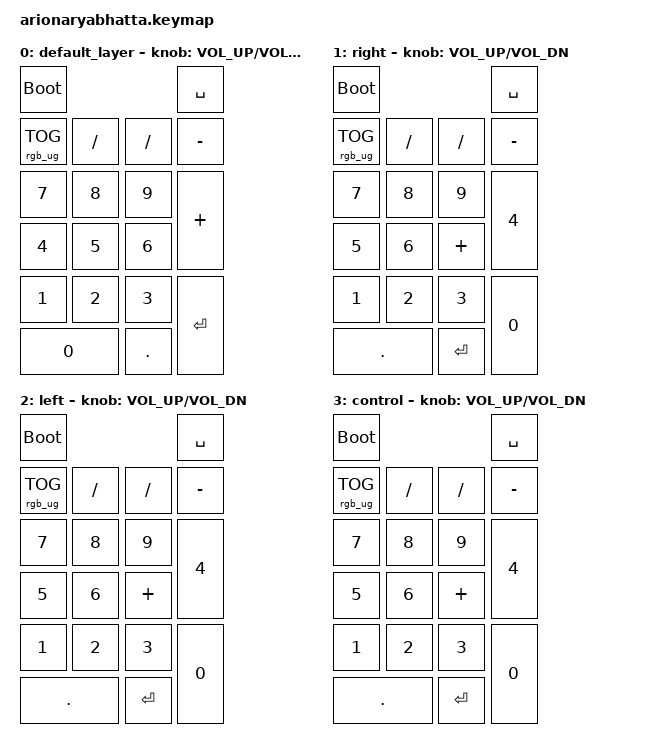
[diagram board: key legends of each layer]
#include <behaviors.dtsi>
#include <dt-bindings/zmk/keys.h>
#include <dt-bindings/zmk/bt.h>
#include <dt-bindings/zmk/rgb.h>
#include <dt-bindings/zmk/ext_power.h>

/ {
    combos {
        compatible = "zmk,combos";
        combo_studio_unlock {
            timeout-ms = <50>;
            key-positions = <0 1>;
            bindings = <&studio_unlock>;
        };
    };
};

/ {
	keymap {
		compatible = "zmk,keymap";

		default_layer {
            sensor-bindings = <&inc_dec_kp C_VOL_UP C_VOL_DN>;
			bindings = <
		        &bootloader                                                &kp SPACE
                &rgb_ug RGB_TOG     &kp SLASH           &kp SLASH           &kp MINUS      
                &kp N7              &kp N8              &kp N9             &kp PLUS
                &kp N4              &kp N5              &kp N6              
                &kp N1              &kp N2              &kp N3             &kp ENTER
                &kp N0              &kp DOT             
			>;			
		};

		right {
			sensor-bindings = <&inc_dec_kp C_VOL_UP C_VOL_DN>;
			bindings = <
		        &bootloader                                                &kp SPACE
                &rgb_ug RGB_TOG     &kp SLASH           &kp SLASH           &kp MINUS      
                &kp N7              &kp N8              &kp N9   
                &kp N4              &kp N5              &kp N6             &kp PLUS 
                &kp N1              &kp N2              &kp N3 
                &kp N0              &kp DOT             &kp ENTER
			>;
		};

		left {
			sensor-bindings = <&inc_dec_kp C_VOL_UP C_VOL_DN>;
			bindings = <
		        &bootloader                                                &kp SPACE
                &rgb_ug RGB_TOG     &kp SLASH           &kp SLASH           &kp MINUS      
                &kp N7              &kp N8              &kp N9   
                &kp N4              &kp N5              &kp N6             &kp PLUS 
                &kp N1              &kp N2              &kp N3 
                &kp N0              &kp DOT             &kp ENTER
			>;
		};

		control {
			sensor-bindings = <&inc_dec_kp C_VOL_UP C_VOL_DN>;
			bindings = <
		        &bootloader                                                &kp SPACE
                &rgb_ug RGB_TOG     &kp SLASH           &kp SLASH           &kp MINUS      
                &kp N7              &kp N8              &kp N9   
                &kp N4              &kp N5              &kp N6             &kp PLUS 
                &kp N1              &kp N2              &kp N3 
                &kp N0              &kp DOT             &kp ENTER
			>;
		};
	};
};
